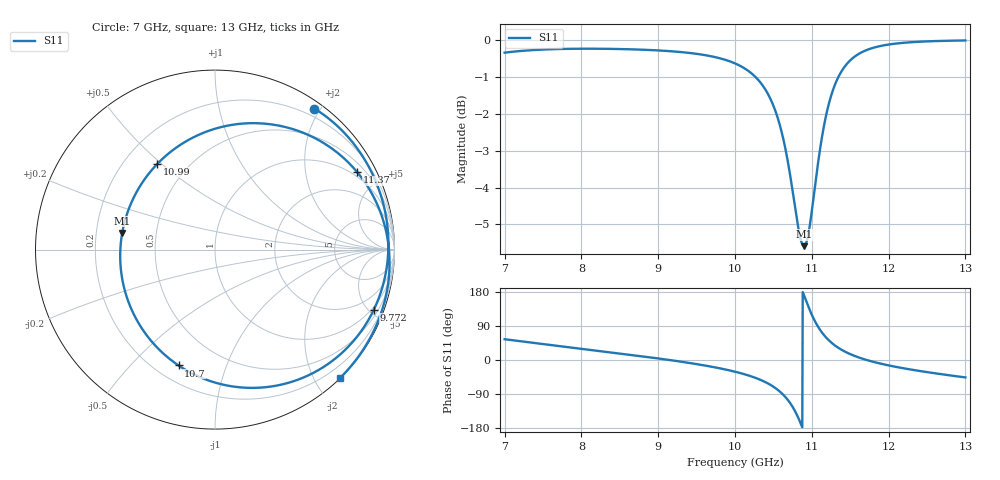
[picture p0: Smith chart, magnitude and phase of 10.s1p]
! TOUCHSTONE file generated by CST MICROWAVE STUDIO
! Date and time: Wed Sep 25 16:55:53 2024
! Project name: unit_cell_optimization_L=10.0_Wgap=1.0_Wline=1.42.cst
! Parameters = {A=1.20852; AB_sqInv=0.684378; B=0.025494; C0=2.097; Cj=0.359671; Cp=0.075; Ct=0.433746; ImZ=-36.6931; L=10; L1=0.3; L_back=16.1559; Lp=0.35; Lpad=0.75; M=1.199; R=5.41; R_cav=0.5; R_sogl=4.36377; ReZ=3.70249; Rt=3.70249; V=10; Vj=2.984; W=10; W1=-0.15; W2=-0.15; Wcoop=3.29; Wgap=1; W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
! Header version: 2024
! Port assignment regex: !\s*Touchstone port\s*([0-9]+)\s*=\s*(CST MWS port|CST DES external port|CST DES block port)\s*(.+)\s* \(\"(.*)\"\)(\s*mode\s*([0-9]+))?.*
! Touchstone port assignment:
! Touchstone port 1 = CST MWS port Zmax ("") mode 1
! S-Parameters are not renormalized. Unphysical impedance of 50 will be written to the file.
# GHz S RI R 50
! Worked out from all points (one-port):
!   1001 points, 7 GHz to 13 GHz, reference per port
!   lowest |S11| = -5.6 dB at 10.9 GHz (marker M1), VSWR 3.21
!   |S11| at or under -10 dB: nowhere
!   S11 on the Smith chart (normalised r, x): 7 GHz: 0.09, +1.92; 9.772 GHz: 0.84, -5.35; 10.7 GHz: 0.29, -0.69; 10.99 GHz: 0.34, +0.48; 11.37 GHz: 0.81, +3.76; 13 GHz: 0.00, -2.36
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7  0.5535 0.7858
7.75  0.7882 0.5696
8.5  0.9284 0.2885
9.25  0.9626 -0.0505
9.772  0.8852 -0.3346
10  0.798 -0.4768
10.216  0.6536 -0.62
10.39  0.4574 -0.7265
10.48  0.3107 -0.7631
10.57  0.1232 -0.7657
10.636  -0.0411 -0.7274
10.696  -0.2033 -0.6454
10.75  -0.3461 -0.5198
10.834  -0.5062 -0.2139
10.9  -0.517 0.0933
10.942  -0.4541 0.2875
10.99  -0.3218 0.4771
11.062  -0.0516 0.6557
11.14  0.2489 0.7037
11.2  0.4439 0.668
11.254  0.5843 0.6061
11.374  0.7921 0.4318
11.5  0.904 0.2515
11.644  0.9588 0.0749
11.83  0.9719 -0.1085
12.25  0.9077 -0.401
12.61  0.8137 -0.5754
13  0.6939 -0.718
